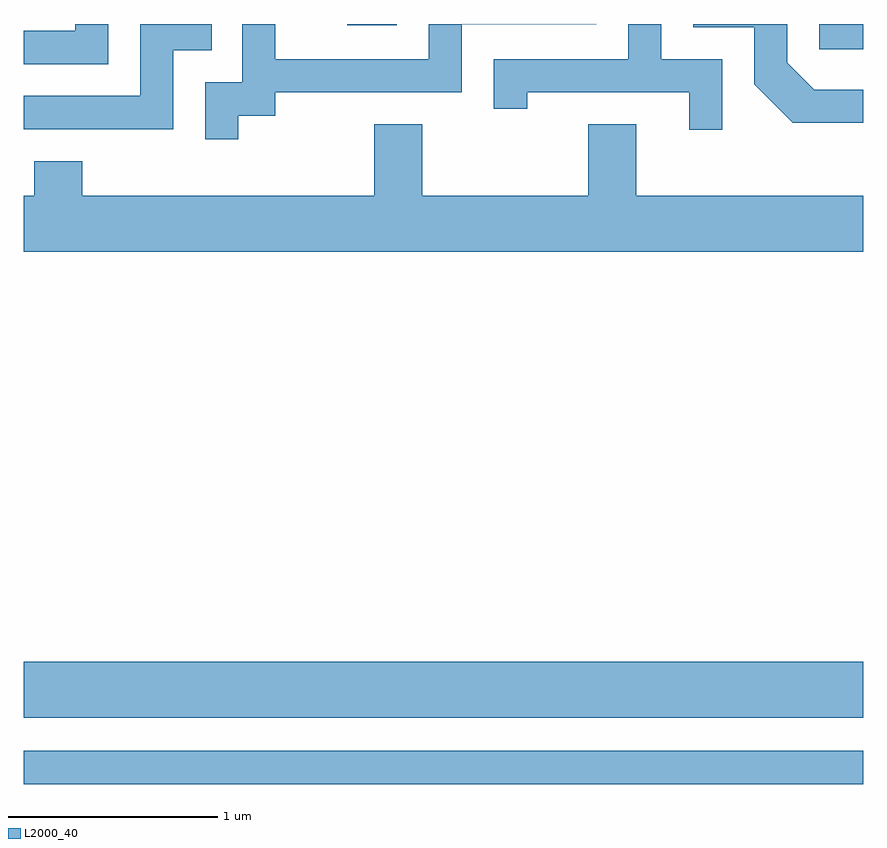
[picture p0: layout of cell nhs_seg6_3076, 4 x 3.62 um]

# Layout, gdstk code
import gdstk
lib = gdstk.Library(unit=1e-6, precision=1e-09)
def R(c, l, rs):  # rectangles x0, y0, x1, y1
    for r in rs: c.add(gdstk.rectangle(r[:2], r[2:], *l))
def P(c, l, *ps):  # polygons
    for p in ps: c.add(gdstk.Polygon(p, *l))
L2000_40 = (2000, 40)

nhs_seg6_3076 = lib.new_cell('nhs_seg6_3076')
R(nhs_seg6_3076, L2000_40, [(277.611,1618.541,281.611,1618.699), (277.611,1618.856,281.611,1619.124), (281.401,1622.041,281.611,1622.162), (279.153,1622.156,279.389,1622.162)])
P(nhs_seg6_3076, L2000_40, [(280.939,1621.994),(280.649,1621.994),(280.649,1622.162),(280.491,1622.162),(280.491,1621.994),(279.851,1621.994),(279.851,1621.758),(280.009,1621.758),(280.009,1621.836),(280.781,1621.836),(280.781,1621.658),(280.939,1621.658)],
  [(278.014,1622.162),(277.856,1622.162),(277.856,1622.129),(277.611,1622.129),(277.611,1621.971),(278.014,1621.971)],
  [(278.634,1621.726),(278.809,1621.726),(278.809,1621.836),(279.699,1621.836),(279.699,1622.161),(280.339,1622.161),(280.339,1622.162),(279.541,1622.162),(279.541,1621.994),(278.809,1621.994),(278.809,1622.162),(278.651,1622.162),(278.651,1621.884),(278.476,1621.884),(278.476,1621.613),(278.634,1621.613)],
  [(281.611,1621.849),(281.377,1621.849),(281.249,1621.977),(281.249,1622.162),(280.801,1622.162),(280.801,1622.146),(281.091,1622.146),(281.091,1621.874),(281.274,1621.691),(281.611,1621.691)],
  [(278.324,1622.036),(278.508,1622.036),(278.508,1622.162),(278.166,1622.162),(278.166,1621.819),(277.611,1621.819),(277.611,1621.661),(278.324,1621.661)],
  [(281.611,1621.344),(280.529,1621.344),(280.529,1621.684),(280.301,1621.684),(280.301,1621.344),(279.509,1621.344),(279.509,1621.684),(279.281,1621.684),(279.281,1621.344),(277.889,1621.344),(277.889,1621.509),(277.661,1621.509),(277.661,1621.344),(277.611,1621.344),(277.611,1621.076),(281.611,1621.076)])

lib.write_gds('nhs_seg6_3076.gds')
